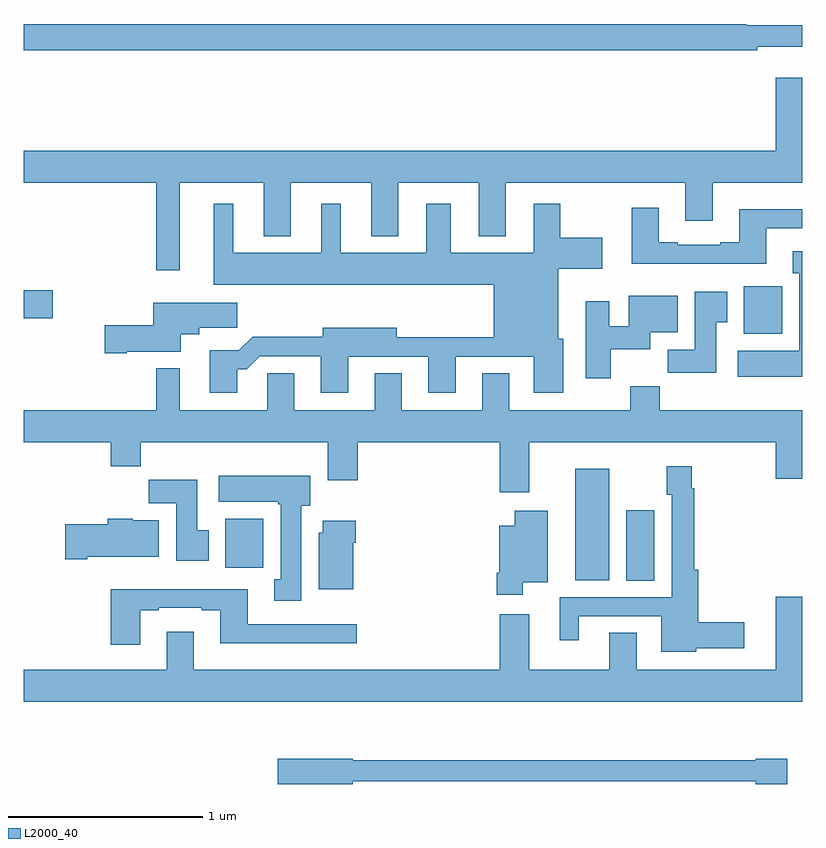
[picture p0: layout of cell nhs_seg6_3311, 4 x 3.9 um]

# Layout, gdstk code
import gdstk
lib = gdstk.Library(unit=1e-6, precision=1e-09)
def R(c, l, rs):  # rectangles x0, y0, x1, y1
    for r in rs: c.add(gdstk.rectangle(r[:2], r[2:], *l))
def P(c, l, *ps):  # polygons
    for p in ps: c.add(gdstk.Polygon(p, *l))
L2000_40 = (2000, 40)

nhs_seg6_3311 = lib.new_cell('nhs_seg6_3311')
R(nhs_seg6_3311, L2000_40, [(308.096,962.608,308.239,962.971), (307.832,962.612,308.008,963.184), (306.035,962.676,306.231,962.926), (308.699,963.878,308.896,964.12), (305,963.958,305.149,964.1)])
P(nhs_seg6_3311, L2000_40, [(308.768,965.351),(309,965.351),(309,965.461),(308.714,965.461),(308.714,965.468),(305,965.468),(305,965.332),(308.768,965.332)],
  [(305.803,964.652),(306.233,964.652),(306.233,964.379),(306.373,964.379),(306.373,964.652),(306.785,964.652),(306.785,964.379),(306.925,964.379),(306.925,964.652),(307.337,964.652),(307.337,964.379),(307.477,964.379),(307.477,964.652),(308.399,964.652),(308.399,964.458),(308.539,964.458),(308.539,964.652),(309,964.652),(309,965.191),(308.864,965.191),(308.864,964.816),(305,964.816),(305,964.652),(305.682,964.652),(305.682,964.203),(305.803,964.203)],
  [(306.097,963.695),(306.146,963.695),(306.213,963.762),(306.527,963.762),(306.527,963.573),(306.667,963.573),(306.667,963.759),(307.079,963.759),(307.079,963.573),(307.219,963.573),(307.219,963.759),(307.619,963.759),(307.619,963.573),(307.771,963.573),(307.771,963.852),(307.747,963.852),(307.747,964.211),(307.972,964.211),(307.972,964.369),(307.755,964.369),(307.755,964.546),(307.619,964.546),(307.619,964.294),(307.195,964.294),(307.195,964.546),(307.067,964.546),(307.067,964.294),(306.628,964.294),(306.628,964.546),(306.53,964.546),(306.53,964.294),(306.076,964.294),(306.076,964.546),(305.978,964.546),(305.978,964.13),(307.415,964.13),(307.415,963.86),(306.916,963.86),(306.916,963.907),(306.536,963.907),(306.536,963.863),(306.176,963.863),(306.106,963.793),(305.957,963.793),(305.957,963.573),(306.097,963.573)],
  [(308.815,964.419),(309,964.419),(309,964.516),(308.675,964.516),(308.675,964.348),(308.579,964.348),(308.579,964.335),(308.359,964.335),(308.359,964.348),(308.263,964.348),(308.263,964.525),(308.123,964.525),(308.123,964.238),(308.815,964.238)],
  [(309,964.3),(308.951,964.3),(308.951,964.187),(308.984,964.187),(308.984,963.79),(308.667,963.79),(308.667,963.656),(309,963.656)],
  [(308.557,963.937),(308.614,963.937),(308.614,964.093),(308.447,964.093),(308.447,963.796),(308.308,963.796),(308.308,963.678),(308.557,963.678)],
  [(308.016,963.797),(308.218,963.797),(308.218,963.884),(308.359,963.884),(308.359,964.072),(308.108,964.072),(308.108,963.915),(308.008,963.915),(308.008,964.045),(307.886,964.045),(307.886,963.648),(308.016,963.648)],
  [(305.53,963.785),(305.806,963.785),(305.806,963.875),(305.902,963.875),(305.902,963.907),(306.097,963.907),(306.097,964.036),(305.666,964.036),(305.666,963.92),(305.418,963.92),(305.418,963.778),(305.53,963.778)],
  [(307.597,963.32),(308.864,963.32),(308.864,963.132),(309,963.132),(309,963.484),(308.267,963.484),(308.267,963.608),(308.116,963.608),(308.116,963.484),(307.495,963.484),(307.495,963.674),(307.355,963.674),(307.355,963.484),(306.943,963.484),(306.943,963.674),(306.803,963.674),(306.803,963.484),(306.391,963.484),(306.391,963.674),(306.252,963.674),(306.252,963.484),(305.803,963.484),(305.803,963.7),(305.682,963.7),(305.682,963.484),(305,963.484),(305,963.32),(305.447,963.32),(305.447,963.196),(305.603,963.196),(305.603,963.32),(306.563,963.32),(306.563,963.126),(306.716,963.126),(306.716,963.32),(307.445,963.32),(307.445,963.063),(307.597,963.063)],
  [(308.454,962.261),(308.701,962.261),(308.701,962.396),(308.466,962.396),(308.466,962.665),(308.444,962.665),(308.444,963.083),(308.432,963.083),(308.432,963.196),(308.302,963.196),(308.302,963.051),(308.328,963.051),(308.328,962.523),(307.754,962.523),(307.754,962.304),(307.852,962.304),(307.852,962.427),(308.276,962.427),(308.276,962.243),(308.454,962.243)],
  [(306.427,962.994),(306.472,962.994),(306.472,963.148),(306.003,963.148),(306.003,963.014),(306.307,963.014),(306.307,963.001),(306.32,963.001),(306.32,962.617),(306.287,962.617),(306.287,962.505),(306.427,962.505)],
  [(305.95,962.868),(305.893,962.868),(305.893,963.127),(305.644,963.127),(305.644,963.008),(305.783,963.008),(305.783,962.712),(305.95,962.712)],
  [(307.564,962.6),(307.693,962.6),(307.693,962.968),(307.523,962.968),(307.523,962.89),(307.442,962.89),(307.442,962.65),(307.43,962.65),(307.43,962.538),(307.564,962.538)],
  [(305.326,962.732),(305.695,962.732),(305.695,962.92),(305.562,962.92),(305.562,962.926),(305.432,962.926),(305.432,962.898),(305.214,962.898),(305.214,962.72),(305.326,962.72)],
  [(306.694,962.804),(306.707,962.804),(306.707,962.917),(306.536,962.917),(306.536,962.856),(306.515,962.856),(306.515,962.564),(306.694,962.564)],
  [(305.599,962.457),(305.695,962.457),(305.695,962.469),(305.915,962.469),(305.915,962.457),(306.011,962.457),(306.011,962.288),(306.712,962.288),(306.712,962.385),(306.151,962.385),(306.151,962.566),(305.447,962.566),(305.447,962.28),(305.599,962.28)],
  [(309,962.527),(308.864,962.527),(308.864,962.152),(308.149,962.152),(308.149,962.342),(308.009,962.342),(308.009,962.152),(307.597,962.152),(307.597,962.437),(307.445,962.437),(307.445,962.152),(305.875,962.152),(305.875,962.347),(305.735,962.347),(305.735,962.152),(305,962.152),(305,961.988),(309,961.988)],
  [(306.69,961.578),(308.76,961.578),(308.76,961.565),(308.923,961.565),(308.923,961.695),(308.76,961.695),(308.76,961.687),(306.69,961.687),(306.69,961.695),(306.306,961.695),(306.306,961.565),(306.69,961.565)])

lib.write_gds('nhs_seg6_3311.gds')
